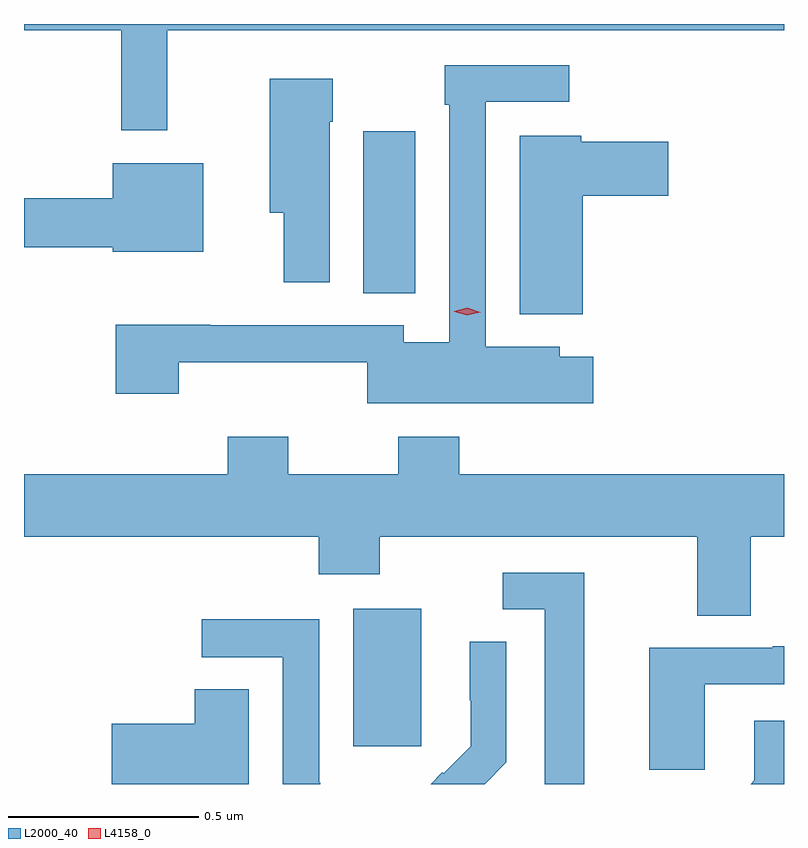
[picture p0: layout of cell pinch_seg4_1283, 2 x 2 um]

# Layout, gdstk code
import gdstk
lib = gdstk.Library(unit=1e-6, precision=1e-09)
def R(c, l, rs):  # rectangles x0, y0, x1, y1
    for r in rs: c.add(gdstk.rectangle(r[:2], r[2:], *l))
def P(c, l, *ps):  # polygons
    for p in ps: c.add(gdstk.Polygon(p, *l))
L2000_40 = (2000, 40)
L4158_0 = (4158, 0)

pinch_seg4_1283 = lib.new_cell('pinch_seg4_1283')
R(pinch_seg4_1283, L2000_40, [(232.589,778.953,232.768,779.314), (232.616,780.145,232.753,780.571)])
P(pinch_seg4_1283, L2000_40, [(232.1,780.836),(233.723,780.836),(233.723,780.853),(231.723,780.853),(231.723,780.836),(231.979,780.836),(231.979,780.573),(232.1,780.573)],
  [(233.221,779.977),(233.133,779.977),(233.133,780.004),(232.938,780.004),(232.938,780.648),(233.158,780.648),(233.158,780.744),(232.83,780.744),(232.83,780.641),(232.842,780.641),(232.842,780.016),(232.722,780.016),(232.722,780.06),(232.213,780.06),(232.213,780.062),(231.965,780.062),(231.965,779.88),(232.13,779.88),(232.13,779.963),(232.626,779.963),(232.626,779.855),(233.221,779.855)],
  [(232.528,780.596),(232.536,780.596),(232.536,780.709),(232.37,780.709),(232.37,780.356),(232.406,780.356),(232.406,780.174),(232.528,780.174)],
  [(233.194,780.401),(233.419,780.401),(233.419,780.543),(233.19,780.543),(233.19,780.559),(233.027,780.559),(233.027,780.089),(233.194,780.089)],
  [(232.195,780.487),(231.956,780.487),(231.956,780.394),(231.723,780.394),(231.723,780.265),(231.956,780.265),(231.956,780.254),(232.195,780.254)],
  [(233.635,779.504),(233.723,779.504),(233.723,779.668),(232.868,779.668),(232.868,779.767),(232.708,779.767),(232.708,779.668),(232.419,779.668),(232.419,779.767),(232.259,779.767),(232.259,779.668),(231.723,779.668),(231.723,779.504),(232.499,779.504),(232.499,779.405),(232.659,779.405),(232.659,779.504),(233.495,779.504),(233.495,779.296),(233.635,779.296)],
  [(233.197,779.409),(232.983,779.409),(232.983,779.313),(233.093,779.313),(233.093,778.853),(233.197,778.853)],
  [(232.503,778.856),(232.5,778.856),(232.5,779.286),(232.191,779.286),(232.191,779.187),(232.404,779.187),(232.404,778.853),(232.503,778.853)],
  [(232.992,778.91),(232.992,779.228),(232.896,779.228),(232.896,779.074),(232.898,779.074),(232.898,778.952),(232.827,778.881),(232.824,778.884),(232.793,778.853),(232.935,778.853)],
  [(233.514,779.115),(233.723,779.115),(233.723,779.215),(233.693,779.215),(233.693,779.211),(233.369,779.211),(233.369,778.891),(233.514,778.891)],
  [(232.315,779.102),(232.172,779.102),(232.172,779.012),(231.954,779.012),(231.954,778.853),(232.315,778.853)],
  [(233.723,779.02),(233.645,779.02),(233.645,778.863),(233.635,778.853),(233.723,778.853)])
P(pinch_seg4_1283, L4158_0, [(232.889,780.086),(232.855,780.096),(232.855,780.097),(232.855,780.097),(232.89,780.106),(232.924,780.095),(232.925,780.095),(232.924,780.095)])

lib.write_gds('pinch_seg4_1283.gds')
